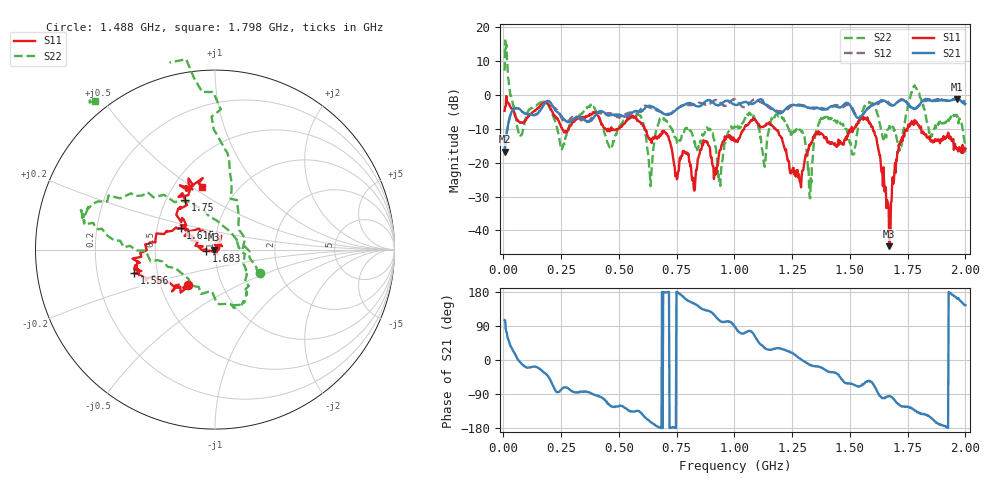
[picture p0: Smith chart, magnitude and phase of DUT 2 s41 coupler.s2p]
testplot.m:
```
clear all

hs = sparameters('DUT 3 coupler S12.s2p');
hs2 = sparameters('DUT 2 s41 coupler.s2p');
% rfplot(hs,2,1,'-black')
% hold on

S12 = sparameters(hs)
S13 = sparameters(hs2)

% 
S12f =  unwrap(angle(rfparam(S12,2,1)))*180/pi
S13f =  unwrap(angle(rfparam(S13,2,1)))*180/pi
freq=(0.005:0.002496871:2)

figure(1)
plot(freq,S12f,freq,S13f)


Real_angle=(S12f-S13f)-180

figure(2)
plot(freq,Real_angle,'-r')
ylabel('Phase Imbalance in degrees')
xlabel('Frequency GHz')
xlim([0.4 2])
% ylim([-30 4])
grid on
hold on

%
```
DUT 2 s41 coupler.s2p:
! PocketVna 1.60  pocketvna.com
! Live measurements ((Reflection-S11, Transmission-S21, Transmission-S12, Reflection-S22) Linear 5000000-2000000000/800 calibrated)
# Hz S RI R 50
! Hz  ReS11  ImS11  ReS21  ImS21  ReS12  ImS12  ReS22  ImS22
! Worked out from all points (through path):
!   800 points, 5 MHz to 2 GHz, reference 50 ohm
!   highest |S21| = -1.24 dB at 1.963 GHz (marker M1); lowest = -16.7 dB at 5 MHz (marker M2)
!   group delay of S21, straight-line fit = 806 ps
!   lowest |S11| = -44.6 dB at 1.67 GHz (marker M3), VSWR 1.01, Z = 49.4 - j0.0815 ohm
!   |S11| at or under -10 dB: 611.2 MHz to 1.042 GHz (431.2 MHz wide, 52.2 % of centre); 1.177 GHz to 1.506 GHz (329.7 MHz wide, 24.6 % of centre); 1.809 GHz to end of sweep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
!   |S22| runs from -30.5 to 16.0 dB; largest |S21 - S12| = 0.17
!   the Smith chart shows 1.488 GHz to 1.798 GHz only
!   S11 on the Smith chart (normalised r, x): 1.488 GHz: 0.69, -0.29; 1.556 GHz: 0.37, -0.12; 1.615 GHz: 0.66, +0.17; 1.683 GHz: 0.91, -0.01; 1.75 GHz: 0.62, +0.39; 1.798 GHz: 0.69, +0.55
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5000000  0.5746 -0.0704  -0.0382 0.1403  0.0628 0.1611  2.248 -0.1174
1.003748e9  0.19 0.0731  0.0425 0.7077  0.0152 0.8493  0.3329 0.0439
1.488141e9  -0.1515 -0.1959  0.3681 -0.6591  0.2862 -0.6585  0.2483 -0.1295
1.555557e9  -0.4504 -0.1323  0.2265 -0.4488  0.205 -0.4628  -0.5101 0.2941
1.615482e9  -0.1912 0.1189  0.138 -0.7436  0.1469 -0.7168  -0.5629 0.052
1.670413e9  -0.00582 -0.000824  -0.0635 -0.7136  -0.0887 -0.745  0.1098 -0.3266
1.682897e9  -0.0479 -0.00697  -0.1044 -0.6918  -0.1224 -0.6783  0.1576 -0.2874
1.750313e9  -0.1669 0.277  -0.4082 -0.6113  -0.4065 -0.6239  -0.00663 0.6696
1.797753e9  -0.0703 0.3506  -0.5143 -0.4588  -0.5396 -0.4132  -0.6701 0.8276
1.962547e9  0.147 -0.0507  -0.8285 0.2552  -0.8323 0.2164  0.4963 0.0726
2e9  -0.0515 -0.1512  -0.5957 0.4253  -0.6038 0.4969  0.0875 0.1107
